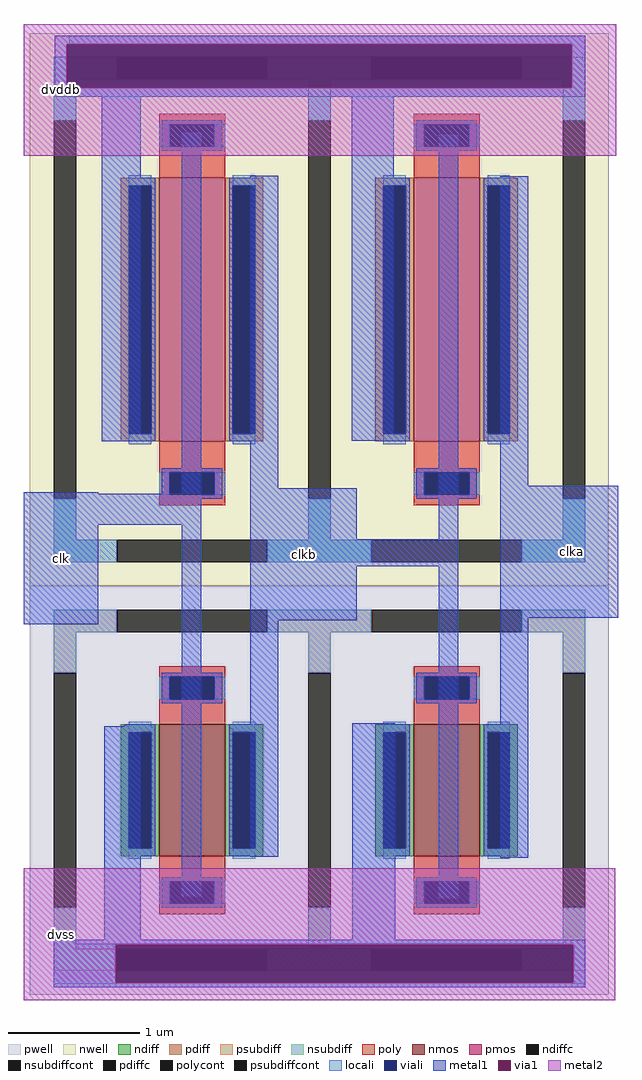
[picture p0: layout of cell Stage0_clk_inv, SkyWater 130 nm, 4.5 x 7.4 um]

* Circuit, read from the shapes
.subckt Stage0_clk_inv dvddb clka clk clkb dvss
XM1 clkb clk dvss dvss sky130_fd_pr__nfet_01v8 w=1 l=0.5
XM2 clka clkb dvss dvss sky130_fd_pr__nfet_01v8 w=1 l=0.5
XM3 clkb clk dvddb dvddb sky130_fd_pr__pfet_01v8 w=2 l=0.5
XM4 clka clkb dvddb dvddb sky130_fd_pr__pfet_01v8 w=2 l=0.5
.ends

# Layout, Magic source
magic
tech sky130A
magscale 1 2
<< locali >>
rect 390 165 1172 178
rect 1152 99 1172 165
rect 390 86 1172 99
rect 784 -1199 1172 -1198
rect 366 -1200 1172 -1199
rect 366 -1258 460 -1200
rect 1154 -1258 1172 -1200
rect 366 -1259 1172 -1258
<< viali >>
rect 386 99 1152 165
rect 460 -1258 1154 -1200
<< metal1 >>
rect 368 165 1172 178
rect 368 99 386 165
rect 1152 99 1172 165
rect 368 86 1172 99
rect 439 -437 498 86
rect 321 -516 434 -514
rect 560 -516 590 31
rect 321 -563 590 -516
rect 321 -714 434 -563
rect 443 -1193 498 -869
rect 560 -1127 590 -563
rect 664 -508 707 -34
rect 818 -436 882 86
rect 664 -585 826 -508
rect 950 -585 980 28
rect 664 -626 980 -585
rect 664 -708 826 -626
rect 664 -1067 707 -708
rect 819 -1193 884 -864
rect 950 -1130 980 -626
rect 1043 -504 1086 -35
rect 1043 -704 1222 -504
rect 1043 -1068 1086 -704
rect 366 -1200 1172 -1193
rect 366 -1258 460 -1200
rect 1154 -1258 1172 -1200
rect 366 -1265 1172 -1258
<< via1 >>
rect 386 99 1152 165
rect 460 -1258 1154 -1200
<< metal2 >>
rect 321 165 1219 196
rect 321 99 386 165
rect 1152 99 1219 165
rect 321 -4 1219 99
rect 321 -1200 1218 -1084
rect 321 -1258 460 -1200
rect 1154 -1258 1218 -1200
rect 321 -1284 1218 -1258
use sky130_fd_pr__nfet_01v8_PVEW3M  XM6 paramcells
transform 1 0 576 0 1 -966
box -246 -310 246 310
use sky130_fd_pr__pfet_01v8_XPB8Y6  XM8 paramcells
transform 1 0 962 0 -1 -237
box -246 -419 246 419
use sky130_fd_pr__nfet_01v8_PVEW3M  XM21
transform 1 0 962 0 -1 -966
box -246 -310 246 310
use sky130_fd_pr__pfet_01v8_XPB8Y6  XM22
transform 1 0 576 0 1 -237
box -246 -419 246 419
<< labels >>
flabel metal1 667 -708 826 -508 0 FreeSans 256 0 0 0 clkb
port 3 nsew
flabel metal2 321 -4 434 196 0 FreeSans 256 0 0 0 dvddb
port 0 nsew
flabel metal2 321 -1284 434 -1084 0 FreeSans 256 0 0 0 dvss
port 4 nsew
flabel metal1 321 -714 434 -514 0 FreeSans 256 0 0 0 clk
port 2 nsew
flabel metal1 1082 -704 1222 -504 0 FreeSans 256 0 0 0 clka
port 1 nsew
<< end >>

# cell sky130_fd_pr__nfet_01v8_PVEW3M: kit device sky130_fd_pr__nfet_01v8, w 1.0 l 0.5 m 1 nf 1 diffcov 100 polycov 100 guard 1 glc 1 grc 1 gtc 1 gbc 1 tbcov 100 rlcov 100 topc 1 botc 1 poverlap 0 doverlap 1 lmin 0.15 wmin 0.42 compatible {sky130_fd_pr__nfet_01v8 sky130_fd_pr__nfet_01v8_lvt sky130_fd_bs_flash__special_sonosfet_star sky130_fd_pr__nfet_g5v0d10v5 sky130_fd_pr__nfet_05v0_nvt sky130_fd_pr__nfet_03v3_nvt} full_metal 1 viasrc 100 viadrn 100 viagate 100 viagb 0 viagr 0 viagl 0 viagt 0

# cell sky130_fd_pr__pfet_01v8_XPB8Y6: kit device sky130_fd_pr__pfet_01v8, w 2.0 l 0.5 m 1 nf 1 diffcov 100 polycov 100 guard 1 glc 1 grc 1 gtc 1 gbc 1 tbcov 100 rlcov 100 topc 1 botc 1 poverlap 0 doverlap 1 lmin 0.15 wmin 0.42 compatible {sky130_fd_pr__pfet_01v8 sky130_fd_pr__pfet_01v8_lvt sky130_fd_pr__pfet_01v8_hvt sky130_fd_pr__pfet_g5v0d10v5} full_metal 1 viasrc 100 viadrn 100 viagate 100 viagb 0 viagr 0 viagl 0 viagt 0
